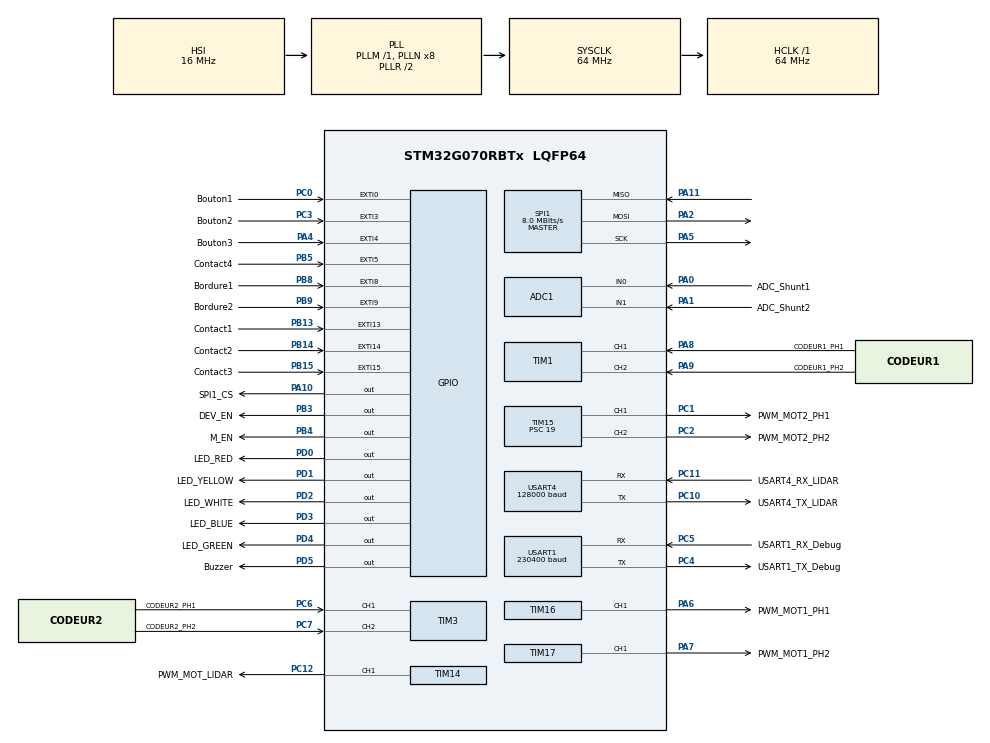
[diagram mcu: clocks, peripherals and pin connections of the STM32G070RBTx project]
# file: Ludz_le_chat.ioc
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ADC1.Channel-2\#ChannelRegularConversion=ADC_CHANNEL_0
ADC1.Channel-3\#ChannelRegularConversion=ADC_CHANNEL_1
ADC1.ContinuousConvMode=ENABLE
ADC1.DMAContinuousRequests=DISABLE
ADC1.ExternalTrigConv=ADC_SOFTWARE_START
ADC1.NbrOfConversion=2
ADC1.NbrOfConversionFlag=1
ADC1.Rank-2\#ChannelRegularConversion=1
ADC1.Rank-3\#ChannelRegularConversion=2
ADC1.SamplingTime-2\#ChannelRegularConversion=ADC_SAMPLINGTIME_COMMON_1
ADC1.SamplingTime-3\#ChannelRegularConversion=ADC_SAMPLINGTIME_COMMON_1
ADC1.SamplingTimeCommon1=ADC_SAMPLETIME_79CYCLES_5
ADC1.SamplingTimeCommon2=ADC_SAMPLETIME_79CYCLES_5
ADC1.SelectedChannel=ADC_CHANNEL_0|ADC_CHANNEL_1
ADC1.Sequencer=FULLY_CONFIGURABLE
ADC1.master=1
Dma.ADC1.0.Direction=DMA_PERIPH_TO_MEMORY
Dma.ADC1.0.EventEnable=DISABLE
Dma.ADC1.0.Instance=DMA1_Channel1
Dma.ADC1.0.MemDataAlignment=DMA_MDATAALIGN_HALFWORD
Dma.ADC1.0.MemInc=DMA_MINC_ENABLE
Dma.ADC1.0.Mode=DMA_NORMAL
Dma.ADC1.0.PeriphDataAlignment=DMA_PDATAALIGN_HALFWORD
Dma.ADC1.0.PeriphInc=DMA_PINC_DISABLE
Dma.ADC1.0.Polarity=HAL_DMAMUX_REQ_GEN_RISING
Dma.ADC1.0.Priority=DMA_PRIORITY_LOW
Dma.ADC1.0.RequestNumber=1
Dma.ADC1.0.SignalID=NONE
Dma.ADC1.0.SyncEnable=DISABLE
Dma.ADC1.0.SyncPolarity=HAL_DMAMUX_SYNC_NO_EVENT
Dma.ADC1.0.SyncRequestNumber=1
Dma.ADC1.0.SyncSignalID=NONE
Dma.Request0=ADC1
Dma.Request1=USART4_RX
Dma.USART4_RX.1.Direction=DMA_PERIPH_TO_MEMORY
Dma.USART4_RX.1.EventEnable=DISABLE
Dma.USART4_RX.1.Instance=DMA1_Channel2
Dma.USART4_RX.1.MemDataAlignment=DMA_MDATAALIGN_BYTE
Dma.USART4_RX.1.MemInc=DMA_MINC_ENABLE
Dma.USART4_RX.1.Mode=DMA_CIRCULAR
Dma.USART4_RX.1.PeriphDataAlignment=DMA_PDATAALIGN_BYTE
Dma.USART4_RX.1.PeriphInc=DMA_PINC_DISABLE
Dma.USART4_RX.1.Polarity=HAL_DMAMUX_REQ_GEN_RISING
Dma.USART4_RX.1.Priority=DMA_PRIORITY_LOW
Dma.USART4_RX.1.RequestNumber=1
Dma.USART4_RX.1.SignalID=NONE
Dma.USART4_RX.1.SyncEnable=DISABLE
Dma.USART4_RX.1.SyncPolarity=HAL_DMAMUX_SYNC_NO_EVENT
Dma.USART4_RX.1.SyncRequestNumber=1
Dma.USART4_RX.1.SyncSignalID=NONE
FREERTOS.Tasks01=defaultTask,0,128,StartDefaultTask,Default,NULL,Dynamic,NULL,NULL
FREERTOS.configTOTAL_HEAP_SIZE=20000
Mcu.Family=STM32G0
Mcu.Name=STM32G070RBTx
Mcu.Package=LQFP64
NVIC.DMA1_Channel1_IRQn=true\:3\:0\:false\:false\:true\:true\:false\:true\:true
NVIC.DMA1_Channel2_3_IRQn=true\:3\:0\:false\:false\:true\:true\:false\:true\:true
NVIC.EXTI0_1_IRQn=true\:3\:0\:false\:false\:true\:true\:true\:true\:true
NVIC.EXTI2_3_IRQn=true\:3\:0\:false\:false\:true\:true\:true\:true\:true
NVIC.EXTI4_15_IRQn=true\:3\:0\:false\:false\:true\:true\:true\:true\:true
NVIC.TIM1_CC_IRQn=true\:3\:0\:false\:false\:true\:true\:true\:true\:true
NVIC.TIM3_IRQn=true\:3\:0\:false\:false\:true\:true\:true\:true\:true
NVIC.TIM7_IRQn=true\:3\:0\:false\:false\:true\:false\:false\:true\:true
NVIC.TimeBase=TIM7_IRQn
NVIC.TimeBaseIP=TIM7
PA0.GPIO_Label=ADC_Shunt1
PA0.Mode=IN0
PA0.Signal=ADC1_IN0
PA1.GPIO_Label=ADC_Shunt2
PA1.Mode=IN1
PA1.Signal=ADC1_IN1
PA10.GPIO_Label=SPI1_CS
PA10.Signal=GPIO_Output
PA11\ [PA9].Mode=Full_Duplex_Master
PA11\ [PA9].Signal=SPI1_MISO
PA13.Mode=Serial_Wire
PA13.Signal=SYS_SWDIO
PA14-BOOT0.Mode=Serial_Wire
PA14-BOOT0.Signal=SYS_SWCLK
PA2.Mode=Full_Duplex_Master
PA2.Signal=SPI1_MOSI
PA4.GPIO_Label=Bouton3
PA4.GPIO_PuPd=GPIO_PULLUP
PA4.Signal=GPXTI4
PA5.Mode=Full_Duplex_Master
PA5.Signal=SPI1_SCK
PA6.GPIO_Label=PWM_MOT1_PH1
PA6.Signal=S_TIM16_CH1
PA7.GPIO_Label=PWM_MOT1_PH2
PA7.Signal=S_TIM17_CH1
PA8.GPIO_Label=CODEUR1_PH1
PA8.Signal=S_TIM1_CH1
PA9.GPIO_Label=CODEUR1_PH2
PA9.Signal=S_TIM1_CH2
PB13.GPIO_Label=Contact1
PB13.GPIO_PuPd=GPIO_PULLDOWN
PB13.Signal=GPXTI13
PB14.GPIO_Label=Contact2
PB14.GPIO_PuPd=GPIO_PULLDOWN
PB14.Signal=GPXTI14
PB15.GPIO_Label=Contact3
PB15.GPIO_PuPd=GPIO_PULLDOWN
PB15.Signal=GPXTI15
PB3.GPIO_Label=DEV_EN
PB3.Signal=GPIO_Output
PB4.GPIO_Label=M_EN
PB4.Signal=GPIO_Output
PB5.GPIO_Label=Contact4
PB5.GPIO_PuPd=GPIO_PULLDOWN
PB5.Signal=GPXTI5
PB8.GPIO_Label=Bordure1
PB8.GPIO_PuPd=GPIO_PULLUP
PB8.Signal=GPXTI8
PB9.GPIO_Label=Bordure2
PB9.GPIO_PuPd=GPIO_PULLDOWN
PB9.Signal=GPXTI9
PC0.GPIO_Label=Bouton1
PC0.GPIO_PuPd=GPIO_PULLUP
PC0.Signal=GPXTI0
PC1.GPIO_Label=PWM_MOT2_PH1
PC1.Signal=S_TIM15_CH1
PC10.GPIO_Label=USART4_TX_LIDAR
PC10.Mode=Asynchronous
PC10.Signal=USART4_TX
PC11.GPIO_Label=USART4_RX_LIDAR
PC11.Mode=Asynchronous
PC11.Signal=USART4_RX
PC12.GPIO_Label=PWM_MOT_LIDAR
PC12.Signal=S_TIM14_CH1
PC2.GPIO_Label=PWM_MOT2_PH2
PC2.Signal=S_TIM15_CH2
PC3.GPIO_Label=Bouton2
PC3.GPIO_PuPd=GPIO_PULLUP
PC3.Signal=GPXTI3
PC4.GPIO_Label=USART1_TX_Debug
PC4.Mode=Asynchronous
PC4.Signal=USART1_TX
PC5.GPIO_Label=USART1_RX_Debug
PC5.Mode=Asynchronous
PC5.Signal=USART1_RX
PC6.GPIO_Label=CODEUR2_PH1
PC6.Signal=S_TIM3_CH1
PC7.GPIO_Label=CODEUR2_PH2
PC7.Signal=S_TIM3_CH2
PD0.GPIO_Label=LED_RED
PD0.Signal=GPIO_Output
PD1.GPIO_Label=LED_YELLOW
PD1.Signal=GPIO_Output
PD2.GPIO_Label=LED_WHITE
PD2.Signal=GPIO_Output
PD3.GPIO_Label=LED_BLUE
PD3.Signal=GPIO_Output
PD4.GPIO_Label=LED_GREEN
PD4.Signal=GPIO_Output
PD5.GPIO_Label=Buzzer
PD5.Signal=GPIO_Output
PF0-OSC_IN\ (PF0).Mode=HSE-External-Oscillator
PF0-OSC_IN\ (PF0).Signal=RCC_OSC_IN
PF1-OSC_OUT\ (PF1).Mode=HSE-External-Oscillator
PF1-OSC_OUT\ (PF1).Signal=RCC_OSC_OUT
ProjectManager.HeapSize=0x200
ProjectManager.StackSize=0x400
ProjectManager.TargetToolchain=STM32CubeIDE
RCC.ADCFreq_Value=64000000
RCC.AHBFreq_Value=64000000
RCC.CortexFreq_Value=64000000
RCC.EXTERNAL_CLOCK_VALUE=48000
RCC.HCLKFreq_Value=64000000
RCC.HSE_VALUE=16000000
RCC.HSI_VALUE=16000000
RCC.LSE_VALUE=32768
RCC.SYSCLKFreq_VALUE=64000000
RCC.SYSCLKSource=RCC_SYSCLKSOURCE_PLLCLK
RCC.VCOOutputFreq_Value=128000000
SH.S_TIM14_CH1.0=TIM14_CH1,PWM Generation1 CH1
SH.S_TIM15_CH1.0=TIM15_CH1,PWM Generation1 CH1
SH.S_TIM15_CH2.0=TIM15_CH2,PWM Generation2 CH2
SH.S_TIM16_CH1.0=TIM16_CH1,PWM Generation1 CH1
SH.S_TIM17_CH1.0=TIM17_CH1,PWM Generation1 CH1
SH.S_TIM1_CH1.0=TIM1_CH1,Encoder_Interface
SH.S_TIM1_CH2.0=TIM1_CH2,Encoder_Interface
SH.S_TIM3_CH1.0=TIM3_CH1,Encoder_Interface
SH.S_TIM3_CH2.0=TIM3_CH2,Encoder_Interface
SPI1.BaudRatePrescaler=SPI_BAUDRATEPRESCALER_8
SPI1.CalculateBaudRate=8.0 MBits/s
SPI1.Direction=SPI_DIRECTION_2LINES
SPI1.Mode=SPI_MODE_MASTER
SPI1.VirtualType=VM_MASTER
TIM1.EncoderMode=TIM_ENCODERMODE_TI12
TIM1.IC1Polarity=TIM_ICPOLARITY_FALLING
TIM1.IC2Polarity=TIM_ICPOLARITY_FALLING
TIM14.Channel=TIM_CHANNEL_1
TIM15.Channel-PWM\ Generation1\ CH1=TIM_CHANNEL_1
TIM15.Channel-PWM\ Generation2\ CH2=TIM_CHANNEL_2
TIM15.Period=999
TIM15.Prescaler=19
TIM16.Channel=TIM_CHANNEL_1
TIM16.Period=999
TIM16.Prescaler=19
TIM17.Channel=TIM_CHANNEL_1
TIM17.Period=999
TIM17.Prescaler=19
TIM3.EncoderMode=TIM_ENCODERMODE_TI12
TIM3.IC1Polarity=TIM_ICPOLARITY_FALLING
TIM3.IC2Polarity=TIM_ICPOLARITY_FALLING
TIM6.Period=99
TIM6.Prescaler=63999
TIM6.TIM_MasterOutputTrigger=TIM_TRGO_UPDATE
USART1.BaudRate=230400
USART1.VirtualMode-Asynchronous=VM_ASYNC
USART4.BaudRate=128000
USART4.VirtualMode-Asynchronous=VM_ASYNC
VP_FREERTOS_VS_CMSIS_V1.Mode=CMSIS_V1
VP_SYS_VS_DBSignals.Mode=DisableDeadBatterySignals
VP_SYS_VS_tim7.Mode=TIM7
VP_TIM14_VS_ClockSourceINT.Mode=Enable_Timer
VP_TIM16_VS_ClockSourceINT.Mode=Enable_Timer
VP_TIM17_VS_ClockSourceINT.Mode=Enable_Timer
VP_TIM6_VS_ClockSourceINT.Mode=Enable_Timer
board=custom

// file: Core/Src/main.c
/* USER CODE BEGIN Header */
/**
 ******************************************************************************
 * @file           : main.c
 * @brief          : Main program body
 ******************************************************************************
 * @attention
 *
 * Copyright (c) 2024 STMicroelectronics.
 * All rights reserved.
 *
 * This software is licensed under terms that can be found in the LICENSE file
 * in the root directory of this software component.
 * If no LICENSE file comes with this software, it is provided AS-IS.
 *
 ******************************************************************************
 */
/* USER CODE END Header */
#include "main.h"
#include "cmsis_os.h"
#include "adc.h"
#include "dma.h"
#include "spi.h"
#include "tim.h"
#include "usart.h"
#include "gpio.h"

/* USER CODE BEGIN Includes */
#include "stdio.h"
#include "math.h"
#include "drv_LIDAR.h"
#include "string.h"
/* USER CODE END Includes */

/* USER CODE BEGIN PD */
#define STACK_SIZE 256
/* USER CODE END PD */

/* USER CODE BEGIN PV */
h_LIDAR_t h_LIDAR; //Handel de notre LIDAR

int frame_start = 0;
int frame_end = 0;

int dist_min = 0;
int idx_min =0;
SemaphoreHandle_t SemHalfCallBack;
SemaphoreHandle_t SemClpCallBack;
/* USER CODE END PV */

void SystemClock_Config(void);
void MX_FREERTOS_Init(void);
/* USER CODE BEGIN PFP */
int __io_putchar(int chr)
{
	HAL_UART_Transmit(&huart1, (uint8_t*)&chr, 1, HAL_MAX_DELAY);
	return chr;
}
int uart_transmit(uint8_t *p_data, uint16_t size){
	HAL_UART_Transmit(&huart4, p_data, size, HAL_MAX_DELAY);
	return 0;
}
int uart_it_transmit(uint8_t *p_data, uint16_t size){
	HAL_UART_Transmit_IT(&huart4, p_data, size);
	return 0;
}
int uart_dma_transmit(uint8_t *p_data, uint16_t size){
	HAL_UART_Transmit_DMA(&huart4, p_data, size);
	return 0;
}
int uart_poll_receive(uint8_t *p_data, uint16_t size){
	HAL_UART_Receive(&huart4, p_data, size, HAL_MAX_DELAY);
	return 0;
}
int uart_it_receive(uint8_t *p_data, uint16_t size){
	HAL_UART_Receive_IT(&huart4, p_data, size);
	return 0;
}
int uart_dma_receive(uint8_t *p_data, uint16_t size){
	HAL_UART_Receive_DMA(&huart4, p_data, size);
	return 0;
}
/* USER CODE END PFP */

/* USER CODE BEGIN 0 */
void TaskLIDAR (void * pvParameters){
	for(;;){
		xSemaphoreTake(SemHalfCallBack, portMAX_DELAY);
		for(int i=0; i<DATA_BUFF_SIZE; i++){
			if(i==DATA_BUFF_SIZE/2){
				xSemaphoreTake(SemClpCallBack, portMAX_DELAY);
			}
			//Réponce à la commande Scan
			if(i==0){
				if((h_LIDAR.data_buff[i]==0xA5) && (h_LIDAR.data_buff[i+1]==0x5A) && (h_LIDAR.data_buff[i+2]==0x05) && (h_LIDAR.data_buff[i+3]==0x00) && (h_LIDAR.data_buff[i+4]==0x00) && (h_LIDAR.data_buff[i+5]==0x40) && (h_LIDAR.data_buff[i+6]==0x81)){
					printf("Scan Command Reply\r\n");
					h_LIDAR.processing.idx=0;
					i=6;
					frame_start=7;
					frame_end=frame_start+4;
				}
			}

			if(i==frame_start){
				h_LIDAR.processing.PH=h_LIDAR.data_buff[i];
			}
			else if(i==frame_start+1){
				h_LIDAR.processing.PH=h_LIDAR.processing.PH|(h_LIDAR.data_buff[i]<<8);
			}
			else if(i==frame_start+2){
				h_LIDAR.processing.CT=h_LIDAR.data_buff[i];
			}
			else if(i==frame_start+3){
				frame_end=frame_start+9+2*h_LIDAR.data_buff[i];
				h_LIDAR.processing.LSN=h_LIDAR.data_buff[i];
			}
			else if(i==frame_start+4){
				h_LIDAR.processing.FSA=h_LIDAR.data_buff[i];
			}
			else if(i==frame_start+5){
				h_LIDAR.processing.FSA=h_LIDAR.processing.FSA|(h_LIDAR.data_buff[i]<<8);
			}
			else if(i==frame_start+6){
				h_LIDAR.processing.LSA=h_LIDAR.data_buff[i];
			}
			else if(i==frame_start+7){
				h_LIDAR.processing.LSA=h_LIDAR.processing.LSA|(h_LIDAR.data_buff[i]<<8);
			}
			else if(i==frame_start+8){
				h_LIDAR.processing.CS=h_LIDAR.data_buff[i];
			}
			else if(i==frame_start+9){
				h_LIDAR.processing.CS=h_LIDAR.processing.CS|(h_LIDAR.data_buff[i]<<8);
			}
			else if(i==frame_end){
				h_LIDAR.processing.frame_buff[h_LIDAR.processing.idx++]=h_LIDAR.data_buff[i];
				if(frame_end-frame_start>11){
					LIDAR_process_frame(&h_LIDAR); //On récupère les différents points
					medianFilter(&h_LIDAR); //On filtre ces points
					find_clusters(&h_LIDAR); //On regroupe ces points
				}
				h_LIDAR.processing.idx=0;
				frame_start=frame_end+1;
				frame_end=frame_start+5;
			}
			else{
				h_LIDAR.processing.frame_buff[h_LIDAR.processing.idx++]=h_LIDAR.data_buff[i];
			}
		}
		frame_start=frame_start-DATA_BUFF_SIZE;
		frame_end=frame_end-DATA_BUFF_SIZE;

		//		printf("#\r\n");
		//		for(int i=0 ; i<360/2 ; i++){
		//			//printf("%d\r\n",h_LIDAR.processing.point_buff[2*i]); //On envoi les valeurs
		//			//printf("%d\r\n",h_LIDAR.processing.filtred_buff[2*i]); //On envoi les valeurs filtrées
		//		}
		printf("#\r\n"); //Envoi des clusters
		dist_min=1500;
		for(int i=0 ; i<h_LIDAR.processing.cluster_cnt ; i++){
			//printf("%d,%d\r\n",h_LIDAR.processing.clusters[i].angle_moyen,h_LIDAR.processing.clusters[i].distance_moyenne); //On envoi les valeurs
			if(h_LIDAR.processing.clusters[i].distance_moyenne<dist_min && h_LIDAR.processing.clusters[i].distance_moyenne !=0){
				dist_min=h_LIDAR.processing.clusters[i].distance_moyenne;
				idx_min=i;
			}
		}
		printf("%d,%d\r\n",h_LIDAR.processing.clusters[idx_min].angle_moyen,h_LIDAR.processing.clusters[idx_min].distance_moyenne);
	}
}
/* USER CODE END 0 */

int main(void)
{
  /* USER CODE BEGIN 1 */
	TaskHandle_t xHandleLIDAR = NULL;
	BaseType_t ret;
  /* USER CODE END 1 */

  /* MCU Configuration--------------------------------------------------------*/

  /* Reset of all peripherals, Initializes the Flash interface and the Systick. */
  HAL_Init();

  /* Configure the system clock */
  SystemClock_Config();

  /* Initialize all configured peripherals */
  MX_GPIO_Init();
  MX_DMA_Init();
  MX_ADC1_Init();
  MX_TIM1_Init();
  MX_TIM3_Init();
  MX_TIM14_Init();
  MX_TIM15_Init();
  MX_TIM16_Init();
  MX_TIM17_Init();
  MX_USART1_UART_Init();
  MX_USART4_UART_Init();
  MX_SPI1_Init();
  MX_TIM6_Init();
  /* USER CODE BEGIN 2 */
	h_LIDAR.serial_drv.transmit=uart_transmit;
	h_LIDAR.serial_drv.it_transmit=uart_it_transmit;
	h_LIDAR.serial_drv.dma_transmit=uart_dma_transmit;
	h_LIDAR.serial_drv.poll_receive=uart_poll_receive;
	h_LIDAR.serial_drv.it_receive=uart_it_receive;
	h_LIDAR.serial_drv.dma_receive=uart_dma_receive;

	printf("\r\n===== Driver_LIDAR =====\r\n");

	LIDAR_stop(&h_LIDAR);
	HAL_Delay(1000);
	LIDAR_get_info(&h_LIDAR);
	LIDAR_get_health_stat(&h_LIDAR);

	ret = xTaskCreate(TaskLIDAR,"TaskLIDAR",STACK_SIZE,(void *) NULL,1,&xHandleLIDAR);
	if (ret != pdPASS)
	{
		printf("Error creating TaskLIDAR\r\n");
		Error_Handler();
	}
	printf("Task LIDAR created\r\n");

	SemHalfCallBack = xSemaphoreCreateBinary();
	SemClpCallBack = xSemaphoreCreateBinary();

	LIDAR_start(&h_LIDAR);
	vTaskStartScheduler();
  /* USER CODE END 2 */

  /* Call init function for freertos objects (in freertos.c) */
  MX_FREERTOS_Init();

  /* Start scheduler */
  osKernelStart();

  /* We should never get here as control is now taken by the scheduler */
  /* Infinite loop */
	while (1)
	{

	}
}

void SystemClock_Config(void)
{
  RCC_OscInitTypeDef RCC_OscInitStruct = {0};
  RCC_ClkInitTypeDef RCC_ClkInitStruct = {0};

  /** Configure the main internal regulator output voltage
  */
  HAL_PWREx_ControlVoltageScaling(PWR_REGULATOR_VOLTAGE_SCALE1);

  /** Initializes the RCC Oscillators according to the specified parameters
  * in the RCC_OscInitTypeDef structure.
  */
  RCC_OscInitStruct.OscillatorType = RCC_OSCILLATORTYPE_HSI;
  RCC_OscInitStruct.HSIState = RCC_HSI_ON;
  RCC_OscInitStruct.HSIDiv = RCC_HSI_DIV1;
  RCC_OscInitStruct.HSICalibrationValue = RCC_HSICALIBRATION_DEFAULT;
  RCC_OscInitStruct.PLL.PLLState = RCC_PLL_ON;
  RCC_OscInitStruct.PLL.PLLSource = RCC_PLLSOURCE_HSI;
  RCC_OscInitStruct.PLL.PLLM = RCC_PLLM_DIV1;
  RCC_OscInitStruct.PLL.PLLN = 8;
  RCC_OscInitStruct.PLL.PLLP = RCC_PLLP_DIV2;
  RCC_OscInitStruct.PLL.PLLR = RCC_PLLR_DIV2;
  if (HAL_RCC_OscConfig(&RCC_OscInitStruct) != HAL_OK)
  {
    Error_Handler();
  }

  /** Initializes the CPU, AHB and APB buses clocks
  */
  RCC_ClkInitStruct.ClockType = RCC_CLOCKTYPE_HCLK|RCC_CLOCKTYPE_SYSCLK
                              |RCC_CLOCKTYPE_PCLK1;
  RCC_ClkInitStruct.SYSCLKSource = RCC_SYSCLKSOURCE_PLLCLK;
  RCC_ClkInitStruct.AHBCLKDivider = RCC_SYSCLK_DIV1;
  RCC_ClkInitStruct.APB1CLKDivider = RCC_HCLK_DIV1;

  if (HAL_RCC_ClockConfig(&RCC_ClkInitStruct, FLASH_LATENCY_2) != HAL_OK)
  {
    Error_Handler();
  }
}

/* USER CODE BEGIN 4 */
void HAL_UART_RxHalfCpltCallback(UART_HandleTypeDef *huart)
{
	BaseType_t higher_priority_task_woken = pdFALSE;
	xSemaphoreGiveFromISR(SemHalfCallBack,&higher_priority_task_woken);
	portYIELD_FROM_ISR(higher_priority_task_woken);
}

void HAL_UART_RxCpltCallback(UART_HandleTypeDef *huart)
{
	BaseType_t higher_priority_task_woken = pdFALSE;
	xSemaphoreGiveFromISR(SemClpCallBack,&higher_priority_task_woken);
	portYIELD_FROM_ISR(higher_priority_task_woken);
}
/* USER CODE END 4 */

void HAL_TIM_PeriodElapsedCallback(TIM_HandleTypeDef *htim)
{
  if (htim->Instance == TIM7) {
    HAL_IncTick();
  }
}

void Error_Handler(void)
{
	__disable_irq();
	while (1)
	{
	}
}
